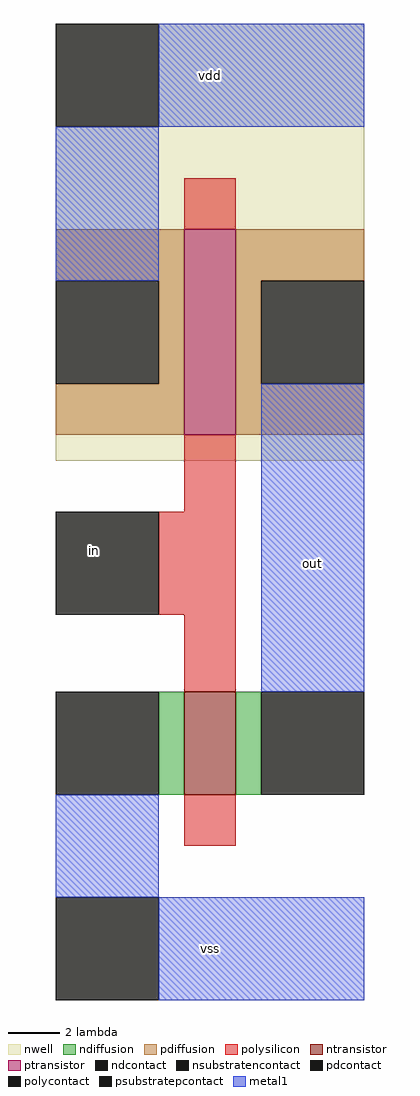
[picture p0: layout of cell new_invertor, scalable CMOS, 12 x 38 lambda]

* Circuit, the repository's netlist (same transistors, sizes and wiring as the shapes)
* SPICE3 file created from new_invertor.ext - technology: scmos

.include ./t14y_tsmc_025_level3.txt

.option scale=1u

M1000 out in vdd vdd cmosp w=8 l=2
+  ad=40 pd=26 as=40 ps=26
M1001 out in vss Gnd cmosn w=4 l=2
+  ad=20 pd=18 as=20 ps=18
* C0 vss Gnd 2.26fF
* C1 in Gnd 4.68fF


v_dd vdd Gnd 5
v_in in Gnd PULSE(0 5 0 0 2 10 20)
v_gnd Gnd 0 20

.control
	tran 0.1 40
	setplot tran1
	plot in out
.endc

.end

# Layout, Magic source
magic
tech scmos
<< nwell >>
rect -8 7 4 24
<< polysilicon >>
rect -3 16 -1 18
rect -3 5 -1 8
rect -4 1 -1 5
rect -3 -2 -1 1
rect -3 -8 -1 -6
<< ndiffusion >>
rect -4 -6 -3 -2
rect -1 -6 0 -2
<< pdiffusion >>
rect -8 14 -3 16
rect -4 10 -3 14
rect -8 8 -3 10
rect -1 14 4 16
rect -1 10 0 14
rect -1 8 4 10
<< metal1 >>
rect -4 20 4 24
rect -8 14 -4 20
rect 0 -2 4 10
rect -8 -10 -4 -6
rect -4 -14 4 -10
<< ntransistor >>
rect -3 -6 -1 -2
<< ptransistor >>
rect -3 8 -1 16
<< polycontact >>
rect -8 1 -4 5
<< ndcontact >>
rect -8 -6 -4 -2
rect 0 -6 4 -2
<< pdcontact >>
rect -8 10 -4 14
rect 0 10 4 14
<< psubstratepcontact >>
rect -8 -14 -4 -10
<< nsubstratencontact >>
rect -8 20 -4 24
<< labels >>
rlabel metal1 -2 -12 -2 -12 1 vss
rlabel metal1 2 3 2 3 7 out
rlabel metal1 -2 22 -2 22 5 vdd
rlabel polycontact -7 3 -6 4 3 in
<< end >>
